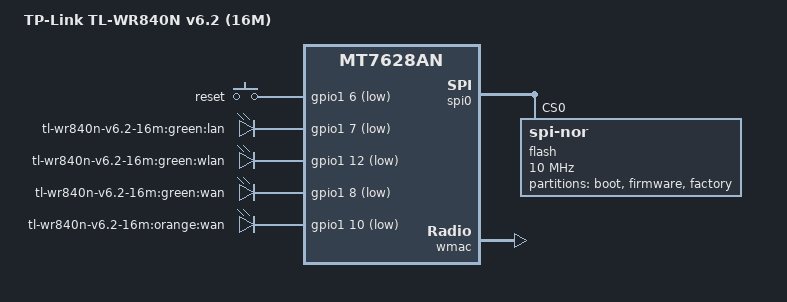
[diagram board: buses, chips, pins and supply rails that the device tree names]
/dts-v1/;

#include "mt7628an.dtsi"

#include <dt-bindings/gpio/gpio.h>
#include <dt-bindings/input/input.h>

/ {
	compatible = "tplink,tl-wr840n-v6.2-16m", "mediatek,mt7628an-soc";
	model = "TP-Link TL-WR840N v6.2 (16M)";

	aliases {
		led-boot = &led_power_orange;
		led-failsafe = &led_power_green;
		led-running = &led_power_green;
		led-upgrade = &led_power_orange;
	};

	chosen {
		bootargs = "console=ttyS0,115200";
	};

	keys {
		compatible = "gpio-keys";

		reset {
			label = "reset";
			gpios = <&gpio1 6 GPIO_ACTIVE_LOW>;
			linux,code = <KEY_RESTART>;
		};
	};

	leds {
		compatible = "gpio-leds";

		lan {
			label = "tl-wr840n-v6.2-16m:green:lan";
			gpios = <&gpio1 7 GPIO_ACTIVE_LOW>;
		};

		wlan {
			label = "tl-wr840n-v6.2-16m:green:wlan";
			gpios = <&gpio1 12 GPIO_ACTIVE_LOW>;
		};

		led_power_green: wan {
			label = "tl-wr840n-v6.2-16m:green:wan";
			gpios = <&gpio1 8 GPIO_ACTIVE_LOW>;
		};

		led_power_orange: power {
			label = "tl-wr840n-v6.2-16m:orange:wan";
			gpios = <&gpio1 10 GPIO_ACTIVE_LOW>;
		};
	};
};

&spi0 {
	status = "okay";

	flash@0 {
		compatible = "jedec,spi-nor";
		reg = <0>;
		spi-max-frequency = <10000000>;

		partitions {
			compatible = "fixed-partitions";
			#address-cells = <1>;
			#size-cells = <1>;

			partition@0 {
				label = "boot";
				reg = <0x0 0x10000>;
				read-only;
			};

			partition@10000 {
				compatible = "tplink,firmware";
				label = "firmware";
				reg = <0x10000 0xfd0000>;
			};

			factory: partition@ff0000 {
				label = "factory";
				reg = <0xff0000 0x10000>;
				read-only;
			};
		};
	};
};

&ehci {
	status = "disabled";
};

&ohci {
	status = "disabled";
};

&wmac {
	status = "okay";
	mtd-mac-address = <&factory 0xf100>;
};

&ethernet {
	mtd-mac-address = <&factory 0xf100>;
	mtd-mac-address-increment = <1>;
};

&esw {
	mediatek,portmap = <0x3e>;
};

&state_default {
	gpio {
		ralink,group = "p1led_an", "p3led_an", "p4led_an", "perst";
		ralink,function = "gpio";
	};
};
